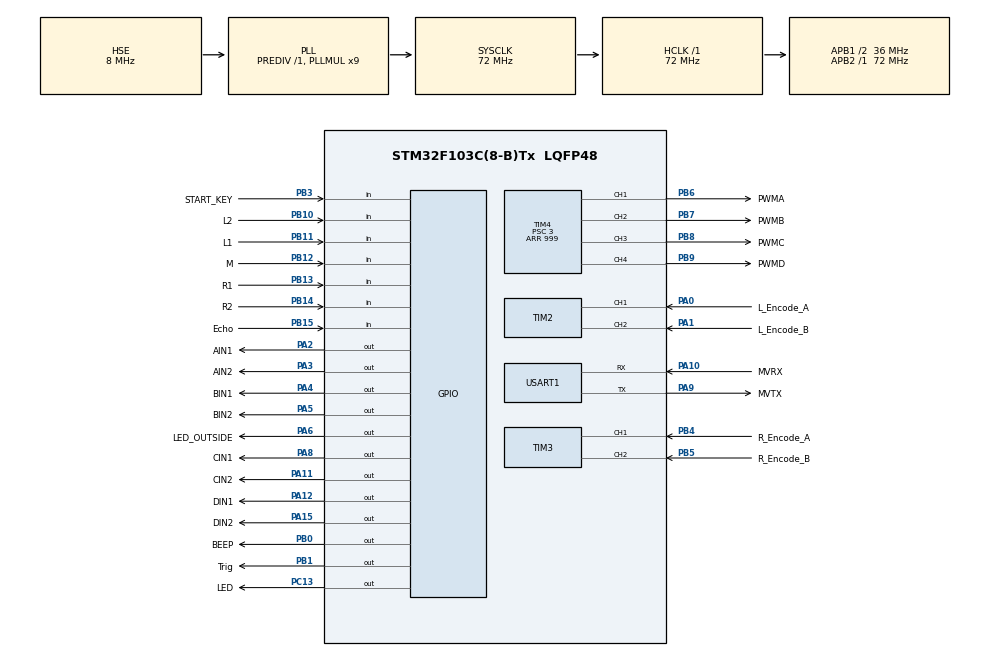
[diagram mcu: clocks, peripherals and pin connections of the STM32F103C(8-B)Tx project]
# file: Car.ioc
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Dma.Request0=USART1_RX
Dma.USART1_RX.0.Direction=DMA_PERIPH_TO_MEMORY
Dma.USART1_RX.0.Instance=DMA1_Channel5
Dma.USART1_RX.0.MemDataAlignment=DMA_MDATAALIGN_BYTE
Dma.USART1_RX.0.MemInc=DMA_MINC_ENABLE
Dma.USART1_RX.0.Mode=DMA_CIRCULAR
Dma.USART1_RX.0.PeriphDataAlignment=DMA_PDATAALIGN_BYTE
Dma.USART1_RX.0.PeriphInc=DMA_PINC_DISABLE
Dma.USART1_RX.0.Priority=DMA_PRIORITY_LOW
Mcu.Family=STM32F1
Mcu.Name=STM32F103C(8-B)Tx
Mcu.Package=LQFP48
NVIC.DMA1_Channel5_IRQn=true\:0\:0\:false\:false\:true\:false\:true\:true
NVIC.PriorityGroup=NVIC_PRIORITYGROUP_4
NVIC.TIM1_UP_IRQn=true\:0\:0\:true\:false\:true\:true\:true\:true
NVIC.TIM4_IRQn=true\:0\:0\:false\:false\:true\:true\:true\:true
NVIC.USART1_IRQn=true\:0\:0\:false\:false\:true\:true\:true\:true
PA0-WKUP.GPIO_Label=L_Encode_A
PA0-WKUP.Signal=S_TIM2_CH1_ETR
PA1.GPIO_Label=L_Encode_B
PA1.Signal=S_TIM2_CH2
PA10.GPIO_Label=MVRX
PA10.Mode=Asynchronous
PA10.Signal=USART1_RX
PA11.GPIO_Label=CIN2
PA11.GPIO_Speed=GPIO_SPEED_FREQ_HIGH
PA11.Signal=GPIO_Output
PA12.GPIO_Label=DIN1
PA12.GPIO_Speed=GPIO_SPEED_FREQ_HIGH
PA12.Signal=GPIO_Output
PA13.Mode=Serial_Wire
PA13.Signal=SYS_JTMS-SWDIO
PA14.Mode=Serial_Wire
PA14.Signal=SYS_JTCK-SWCLK
PA15.GPIO_Label=DIN2
PA15.GPIO_Speed=GPIO_SPEED_FREQ_HIGH
PA15.Signal=GPIO_Output
PA2.GPIO_Label=AIN1
PA2.GPIO_Speed=GPIO_SPEED_FREQ_HIGH
PA2.Signal=GPIO_Output
PA3.GPIO_Label=AIN2
PA3.GPIO_Speed=GPIO_SPEED_FREQ_HIGH
PA3.Signal=GPIO_Output
PA4.GPIO_Label=BIN1
PA4.GPIO_Speed=GPIO_SPEED_FREQ_HIGH
PA4.Signal=GPIO_Output
PA5.GPIO_Label=BIN2
PA5.GPIO_Speed=GPIO_SPEED_FREQ_HIGH
PA5.Signal=GPIO_Output
PA6.GPIO_Label=LED_OUTSIDE
PA6.Signal=GPIO_Output
PA8.GPIO_Label=CIN1
PA8.Signal=GPIO_Output
PA9.GPIO_Label=MVTX
PA9.Mode=Asynchronous
PA9.Signal=USART1_TX
PB0.GPIO_Label=BEEP
PB0.Signal=GPIO_Output
PB1.GPIO_Label=Trig
PB1.GPIO_Speed=GPIO_SPEED_FREQ_HIGH
PB1.Signal=GPIO_Output
PB10.GPIO_Label=L2
PB10.GPIO_PuPd=GPIO_PULLUP
PB10.Signal=GPIO_Input
PB11.GPIO_Label=L1
PB11.GPIO_PuPd=GPIO_PULLUP
PB11.Signal=GPIO_Input
PB12.GPIO_Label=M
PB12.GPIO_PuPd=GPIO_PULLUP
PB12.Signal=GPIO_Input
PB13.GPIO_Label=R1
PB13.GPIO_PuPd=GPIO_PULLUP
PB13.Signal=GPIO_Input
PB14.GPIO_Label=R2
PB14.GPIO_PuPd=GPIO_PULLUP
PB14.Signal=GPIO_Input
PB15.GPIO_Label=Echo
PB15.GPIO_PuPd=GPIO_PULLDOWN
PB15.Signal=GPIO_Input
PB3.GPIO_Label=START_KEY
PB3.GPIO_PuPd=GPIO_PULLDOWN
PB3.Signal=GPIO_Input
PB4.GPIO_Label=R_Encode_A
PB4.Signal=S_TIM3_CH1
PB5.GPIO_Label=R_Encode_B
PB5.Signal=S_TIM3_CH2
PB6.GPIO_Label=PWMA
PB6.Signal=S_TIM4_CH1
PB7.GPIO_Label=PWMB
PB7.Signal=S_TIM4_CH2
PB8.GPIO_Label=PWMC
PB8.Signal=S_TIM4_CH3
PB9.GPIO_Label=PWMD
PB9.Signal=S_TIM4_CH4
PC13-TAMPER-RTC.GPIO_Label=LED
PC13-TAMPER-RTC.Signal=GPIO_Output
PD0-OSC_IN.Mode=HSE-External-Oscillator
PD0-OSC_IN.Signal=RCC_OSC_IN
PD1-OSC_OUT.Mode=HSE-External-Oscillator
PD1-OSC_OUT.Signal=RCC_OSC_OUT
ProjectManager.HeapSize=0x200
ProjectManager.StackSize=0x400
ProjectManager.TargetToolchain=CMake
RCC.AHBFreq_Value=72000000
RCC.APB1CLKDivider=RCC_HCLK_DIV2
RCC.APB1Freq_Value=36000000
RCC.APB1TimFreq_Value=72000000
RCC.APB2Freq_Value=72000000
RCC.APB2TimFreq_Value=72000000
RCC.HCLKFreq_Value=72000000
RCC.PLLMUL=RCC_PLL_MUL9
RCC.PLLSourceVirtual=RCC_PLLSOURCE_HSE
RCC.SYSCLKFreq_VALUE=72000000
RCC.SYSCLKSource=RCC_SYSCLKSOURCE_PLLCLK
RCC.USBFreq_Value=72000000
SH.S_TIM2_CH1_ETR.0=TIM2_CH1,Encoder_Interface
SH.S_TIM2_CH2.0=TIM2_CH2,Encoder_Interface
SH.S_TIM3_CH1.0=TIM3_CH1,Encoder_Interface
SH.S_TIM3_CH2.0=TIM3_CH2,Encoder_Interface
SH.S_TIM4_CH1.0=TIM4_CH1,PWM Generation1 CH1
SH.S_TIM4_CH2.0=TIM4_CH2,PWM Generation2 CH2
SH.S_TIM4_CH3.0=TIM4_CH3,PWM Generation3 CH3
SH.S_TIM4_CH4.0=TIM4_CH4,PWM Generation4 CH4
TIM1.Period=99
TIM1.Prescaler=7199
TIM2.EncoderMode=TIM_ENCODERMODE_TI12
TIM2.IC1Filter=4
TIM2.IC2Filter=4
TIM3.EncoderMode=TIM_ENCODERMODE_TI12
TIM3.IC1Filter=4
TIM3.IC2Filter=4
TIM4.Channel-PWM\ Generation1\ CH1=TIM_CHANNEL_1
TIM4.Channel-PWM\ Generation2\ CH2=TIM_CHANNEL_2
TIM4.Channel-PWM\ Generation3\ CH3=TIM_CHANNEL_3
TIM4.Channel-PWM\ Generation4\ CH4=TIM_CHANNEL_4
TIM4.Period=999
TIM4.Prescaler=3
USART1.VirtualMode=VM_ASYNC
VP_TIM1_VS_ClockSourceINT.Mode=Internal
VP_TIM4_VS_ClockSourceINT.Mode=Internal
board=custom

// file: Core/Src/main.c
/* USER CODE BEGIN Header */
/**
 ******************************************************************************
 * @file           : main.c
 * @brief          : 智能小车电控主程序
 ******************************************************************************
 */
/* USER CODE END Header */
#include "main.h"
#include "gpio.h"
#include "tim.h"
#include "usart.h"

/* USER CODE BEGIN Includes */
#include "app.h"
#include "chassis.h"
#include "config.h"
#include "openmv.h"

/* USER CODE END Includes */

void SystemClock_Config(void);

int main(void)
{

    /* MCU Configuration--------------------------------------------------------*/

    /* Reset of all peripherals, Initializes the Flash interface and the Systick. */
    HAL_Init();

    /* Configure the system clock */
    SystemClock_Config();

    /* Initialize all configured peripherals */
    MX_GPIO_Init();
    MX_TIM4_Init();
    MX_USART1_UART_Init();
    MX_TIM1_Init();
    MX_TIM2_Init();
    MX_TIM3_Init();
    /* USER CODE BEGIN 2 */

    HAL_Delay(100);

    // 启动所有 PWM 输出 (电机)
    HAL_TIM_PWM_Start(&htim4, TIM_CHANNEL_1);
    HAL_TIM_PWM_Start(&htim4, TIM_CHANNEL_2);
    HAL_TIM_PWM_Start(&htim4, TIM_CHANNEL_3);
    HAL_TIM_PWM_Start(&htim4, TIM_CHANNEL_4);

    // 启动硬件编码器计数
    HAL_TIM_Encoder_Start(&htim2, TIM_CHANNEL_ALL);
    HAL_TIM_Encoder_Start(&htim3, TIM_CHANNEL_ALL);

    // 各模块软件初始化
    Chassis_Init();
    OpenMV_Init();
    App_Init();

#if ENABLE_STARTUP_BEEP == 1
    // 开机短鸣提示初始化完成
    HAL_GPIO_WritePin(BEEP_GPIO_Port, BEEP_Pin, BEEP_ON);
    HAL_Delay(200);
    HAL_GPIO_WritePin(BEEP_GPIO_Port, BEEP_Pin, BEEP_OFF);
#else
    // 确保蜂鸣器初始状态为静音
    HAL_GPIO_WritePin(BEEP_GPIO_Port, BEEP_Pin, BEEP_OFF);
#endif
    // 留出一点放置小车的时间
    HAL_Delay(1000);

    // 开启 TIM1 10ms 节拍器中断
    HAL_TIM_Base_Start_IT(&htim1);

    /* USER CODE END 2 */

    /* Infinite loop */
    /* USER CODE BEGIN WHILE */
    while (1)
    {
#if (TEST_MODE == 0)
        // 【正常比赛模式】
        App_Run();

#elif (TEST_MODE == 1)
        // 【闭环定速测试】: 屏蔽循迹，强制 0.35m/s 直行
        extern uint8_t enable_line_tracking;
        enable_line_tracking = 0;
        Chassis_SetPhysicalSpeed(0.35f, 0.35f);
        HAL_Delay(100);

#elif (TEST_MODE == 2)
        // 【循迹测试】: 屏蔽 APP 逻辑，单纯让底盘按黑线跑
        HAL_Delay(100);

#elif (TEST_MODE == 3)
        // 【声光测试】: 每隔5秒播放一次寻找目标声光
        Alert_Start(ALERT_TARGET_FOUND);
        while (!Alert_Process())
            ; // 阻塞等待播放完成
        HAL_Delay(5000);

#elif (TEST_MODE == 4)
        // 【VOFA+ 传感器数据检查测试】
        float vofa_debug[4];
        vofa_debug[0] = Hcsr04GetLength(); // 通道0: 超声波距离 (m)
        vofa_debug[1] = (float)Get_XunJi_State(); // 通道1: 灰度状态 (0~31)
        vofa_debug[2] = (float)openmv_found_target; // 通道2: MV 是否看到目标 (0/1)
        vofa_debug[3] = (float)openmv_x_error; // 通道3: MV 视觉偏差
        JustFloat_Send(vofa_debug, 4);
        HAL_Delay(50); // 50ms 传一次给上位机
#endif
        /* USER CODE END WHILE */

    }
}

void SystemClock_Config(void)
{
    RCC_OscInitTypeDef RCC_OscInitStruct = { 0 };
    RCC_ClkInitTypeDef RCC_ClkInitStruct = { 0 };

    /** Initializes the RCC Oscillators according to the specified parameters
  * in the RCC_OscInitTypeDef structure.
  */
    RCC_OscInitStruct.OscillatorType = RCC_OSCILLATORTYPE_HSE;
    RCC_OscInitStruct.HSEState = RCC_HSE_ON;
    RCC_OscInitStruct.HSEPredivValue = RCC_HSE_PREDIV_DIV1;
    RCC_OscInitStruct.HSIState = RCC_HSI_ON;
    RCC_OscInitStruct.PLL.PLLState = RCC_PLL_ON;
    RCC_OscInitStruct.PLL.PLLSource = RCC_PLLSOURCE_HSE;
    RCC_OscInitStruct.PLL.PLLMUL = RCC_PLL_MUL9;
    if (HAL_RCC_OscConfig(&RCC_OscInitStruct) != HAL_OK)
    {
        Error_Handler();
    }

    /** Initializes the CPU, AHB and APB buses clocks
  */
    RCC_ClkInitStruct.ClockType = RCC_CLOCKTYPE_HCLK | RCC_CLOCKTYPE_SYSCLK
        | RCC_CLOCKTYPE_PCLK1 | RCC_CLOCKTYPE_PCLK2;
    RCC_ClkInitStruct.SYSCLKSource = RCC_SYSCLKSOURCE_PLLCLK;
    RCC_ClkInitStruct.AHBCLKDivider = RCC_SYSCLK_DIV1;
    RCC_ClkInitStruct.APB1CLKDivider = RCC_HCLK_DIV2;
    RCC_ClkInitStruct.APB2CLKDivider = RCC_HCLK_DIV1;

    if (HAL_RCC_ClockConfig(&RCC_ClkInitStruct, FLASH_LATENCY_2) != HAL_OK)
    {
        Error_Handler();
    }
}

/* USER CODE BEGIN 4 */
void HAL_TIM_PeriodElapsedCallback(TIM_HandleTypeDef* htim)
{
    if (htim->Instance == TIM1)
    {
        // 底盘运动学核心更新
        Chassis_Update();
    }
}
/* USER CODE END 4 */

void Error_Handler(void)
{
    __disable_irq();
    while (1)
    {
    }
}
